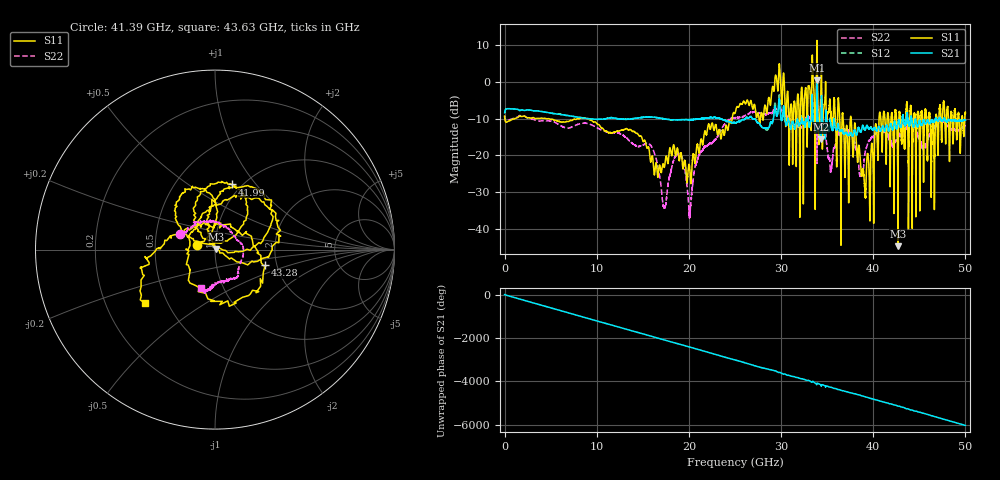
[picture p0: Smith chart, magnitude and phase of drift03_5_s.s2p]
!Created with skrf (http://scikit-rf.org).
# Hz S RI R 50.0
!freq ReS11 ImS11 ReS21 ImS21 ReS12 ImS12 ReS22 ImS22
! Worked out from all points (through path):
!   10001 points, 300 kHz to 50 GHz, reference 50 ohm
!   highest |S21| = 0.36 dB at 33.9 GHz (marker M1); lowest = -15.7 dB at 34.32 GHz (marker M2)
!   group delay of S21, straight-line fit = 335 ps
!   lowest |S11| = -44.7 dB at 42.68 GHz (marker M3), VSWR 1.01, Z = 50.4 + j0.418 ohm
!   |S11| at or under -10 dB: 4.474 GHz to 7.919 GHz (3.445 GHz wide, 55.6 % of centre); 9.016 GHz to 24.7 GHz (15.68 GHz wide, 93 % of centre); 37.6 GHz to 40.63 GHz (3.029 GHz wide, 7.74 % of centre) (the widest 3 of 66)
!   |S22| runs from -37.1 to -6.0 dB; largest |S21 - S12| = 0.11
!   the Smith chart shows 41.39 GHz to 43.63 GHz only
!   S11 on the Smith chart (normalised r, x): 41.39 GHz: 0.81, +0.04; 41.99 GHz: 0.90, +0.76; 43.28 GHz: 1.74, -0.33; 43.63 GHz: 0.37, -0.29
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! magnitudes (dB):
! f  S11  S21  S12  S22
! 300 kHz  -9.3  -8.4  -8.4  -9.3
! 8.335 GHz  -9.8  -9.8  -9.8  -11.4
! 16.67 GHz  -25.4  -9.8  -9.8  -23.6
! 17.36 GHz  -23.1  -10.1  -10.1  -34.2
! 19.03 GHz  -20.6  -10.3  -10.4  -19.9
! 20.1 GHz  -23.7  -10.3  -10.3  -35.5
! 21.19 GHz  -17.9  -10.1  -10.1  -19.4
! 25 GHz  -8.6  -11.1  -11.1  -9.8
! 29.66 GHz  -2.4  -8.3  -8.5  -7.2
! 31.08 GHz  -6.1  -12.7  -12.7  -10.5
! 33.34 GHz  0.1  -7.8  -7.9  -9.5
! 33.9 GHz  11.2  0.4  -0.1  -22.2
! 34.32 GHz  -2.8  -15.7  -15.1  -11.4
! 35.33 GHz  -6.2  -10.6  -10.1  -24.1
! 38.99 GHz  -25.9  -12.6  -12.7  -22.1
! 41.39 GHz  -19.6  -12.1  -12.1  -13.5
! 41.67 GHz  -10.0  -13.4  -13.3  -14.7
! 41.99 GHz  -8.5  -12.3  -12.3  -17.1
! 42.68 GHz  -44.7  -11.4  -11.4  -15.8
! 43.28 GHz  -10.7  -10.5  -10.3  -13.8
! 43.63 GHz  -6.2  -9.1  -9.3  -12.9
! 50 GHz  -8.6  -10.5  -10.5  -12.1
